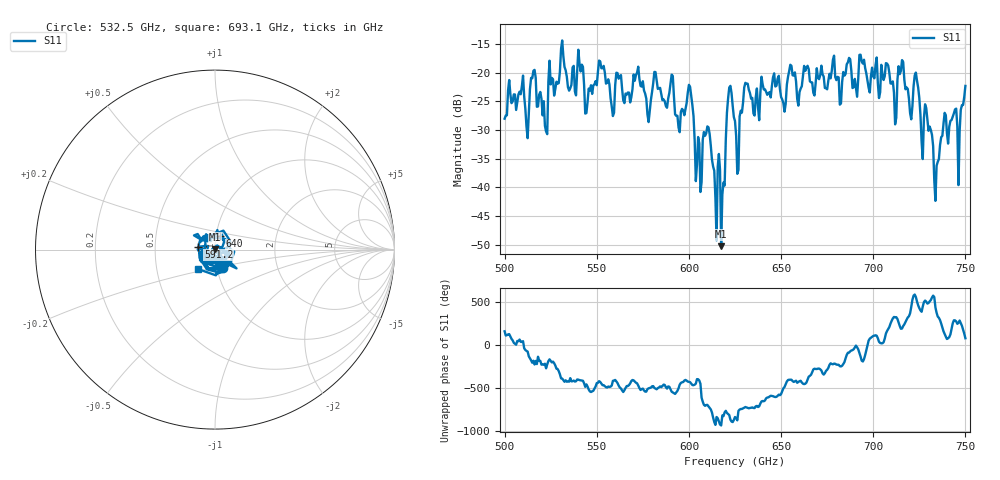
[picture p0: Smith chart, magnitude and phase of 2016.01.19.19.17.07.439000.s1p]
!Created with skrf (http://scikit-rf.org).
# GHz S RI R 50.0
!freq ReS11 ImS11
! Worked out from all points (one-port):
!   401 points, 500 GHz to 750 GHz, reference 50 ohm
!   lowest |S11| = -50.3 dB at 617.5 GHz (marker M1), VSWR 1.01, Z = 49.8 + j0.177 ohm
!   |S11| at or under -10 dB: start of sweep to end of sweep
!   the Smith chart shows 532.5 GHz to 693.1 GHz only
!   S11 on the Smith chart (normalised r, x): 532.5 GHz: 1.07, -0.22; 591.2 GHz: 0.83, +0.03; 640 GHz: 1.04, +0.16; 693.1 GHz: 0.81, -0.18
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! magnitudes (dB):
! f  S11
! 500 GHz  -28.0
! 508.8 GHz  -23.7
! 512.5 GHz  -31.4
! 515.6 GHz  -19.6
! 521.9 GHz  -29.3
! 531.2 GHz  -14.4
! 532.5 GHz  -19.0
! 545 GHz  -25.1
! 562.5 GHz  -20.6
! 591.2 GHz  -20.5
! 593.8 GHz  -27.5
! 600.6 GHz  -22.4
! 605 GHz  -31.2
! 610 GHz  -29.4
! 617.5 GHz  -50.3
! 621.9 GHz  -22.6
! 625 GHz  -28.4
! 640 GHz  -22.0
! 651.2 GHz  -25.3
! 656.2 GHz  -20.4
! 687.5 GHz  -17.6
! 693.1 GHz  -16.8
! 718.8 GHz  -22.8
! 723.8 GHz  -21.4
! 734.4 GHz  -36.2
! 738.1 GHz  -28.9
! 746.9 GHz  -30.2
! 750 GHz  -22.3
